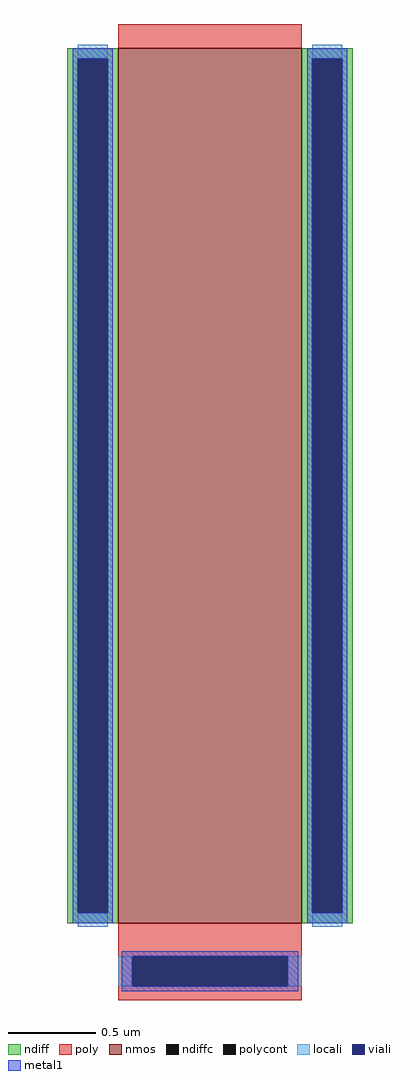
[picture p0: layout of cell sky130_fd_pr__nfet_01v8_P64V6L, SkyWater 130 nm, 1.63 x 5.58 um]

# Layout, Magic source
magic
tech sky130A
magscale 1 2
<< nmos >>
rect -105 -500 105 500
<< ndiff >>
rect -163 488 -105 500
rect -163 -488 -151 488
rect -117 -488 -105 488
rect -163 -500 -105 -488
rect 105 488 163 500
rect 105 -488 117 488
rect 151 -488 163 488
rect 105 -500 163 -488
<< ndiffc >>
rect -151 -488 -117 488
rect 117 -488 151 488
<< poly >>
rect -105 500 105 528
rect -105 -538 105 -500
rect -105 -572 -89 -538
rect 89 -572 105 -538
rect -105 -588 105 -572
<< polycont >>
rect -89 -572 89 -538
<< locali >>
rect -151 488 -117 504
rect -151 -504 -117 -488
rect 117 488 151 504
rect 117 -504 151 -488
rect -105 -572 -89 -538
rect 89 -572 105 -538
<< viali >>
rect -151 -488 -117 488
rect 117 -488 151 488
rect -89 -572 89 -538
<< metal1 >>
rect -157 488 -111 500
rect -157 -488 -151 488
rect -117 -488 -111 488
rect -157 -500 -111 -488
rect 111 488 157 500
rect 111 -488 117 488
rect 151 -488 157 488
rect 111 -500 157 -488
rect -101 -538 101 -532
rect -101 -572 -89 -538
rect 89 -572 101 -538
rect -101 -578 101 -572
<< properties >>
string gencell sky130_fd_pr__nfet_01v8
string library sky130
string parameters w 5.0 l 1.05 m 1 nf 1 diffcov 100 polycov 100 guard 0 glc 1 grc 1 gtc 1 gbc 1 tbcov 100 rlcov 100 topc 1 botc 1 poverlap 0 doverlap 1 lmin 0.15 wmin 0.42 compatible {sky130_fd_pr__nfet_01v8 sky130_fd_pr__nfet_01v8_lvt  sky130_fd_bs_flash__special_sonosfet_star  sky130_fd_pr__nfet_g5v0d10v5 sky130_fd_pr__nfet_05v0_nvt  sky130_fd_pr__nfet_03v3_nvt} full_metal 1 viasrc 100 viadrn 100 viagate 100 viagb 0 viagr 0 viagl 0 viagt 0
<< end >>
